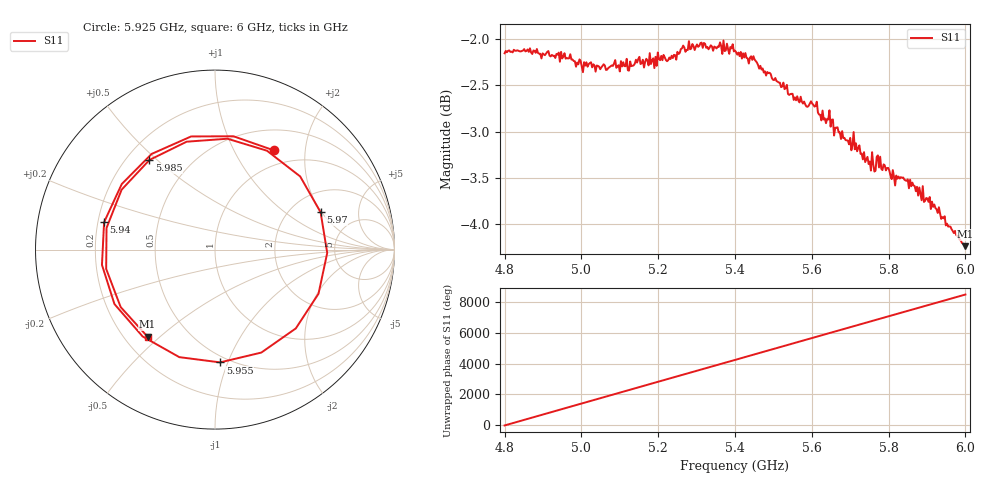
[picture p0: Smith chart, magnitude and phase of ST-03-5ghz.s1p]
! NanoVNA-App
! Date: 2026-05-22 18:49:25
! Start: 4.8GHz Stop: 6GHz Points: 401
! S-Parameter data: F S11
# Hz S RI R 50
!  Frequency  S11_Real  S11_Imag
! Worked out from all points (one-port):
!   401 points, 4.8 GHz to 6 GHz, reference 50 ohm
!   lowest |S11| = -4.2 dB at 6 GHz (marker M1), VSWR 4.18, Z = 14.6 - j22.8 ohm
!   |S11| at or under -10 dB: nowhere
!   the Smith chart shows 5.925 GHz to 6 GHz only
!   S11 on the Smith chart (normalised r, x): 5.925 GHz: 0.77, +1.46; 5.94 GHz: 0.23, +0.12; 5.955 GHz: 0.45, -0.94; 5.97 GHz: 2.87, +1.95; 5.985 GHz: 0.29, +0.47; 6 GHz: 0.29, -0.46
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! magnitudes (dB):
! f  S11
! 4.8 GHz  -2.2
! 4.86 GHz  -2.1
! 4.95 GHz  -2.2
! 5.007 GHz  -2.2
! 5.1 GHz  -2.3
! 5.25 GHz  -2.1
! 5.262 GHz  -2.1
! 5.316 GHz  -2.1
! 5.4 GHz  -2.1
! 5.448 GHz  -2.2
! 5.55 GHz  -2.6
! 5.583 GHz  -2.7
! 5.607 GHz  -2.7
! 5.625 GHz  -2.9
! 5.649 GHz  -2.9
! 5.655 GHz  -2.9
! 5.7 GHz  -3.1
! 5.715 GHz  -3.1
! 5.76 GHz  -3.4
! 5.775 GHz  -3.4
! 5.811 GHz  -3.4
! 5.85 GHz  -3.5
! 5.925 GHz  -3.8
! 5.94 GHz  -3.9
! 5.955 GHz  -4.0
! 5.97 GHz  -4.1
! 5.985 GHz  -4.2
! 6 GHz  -4.2
